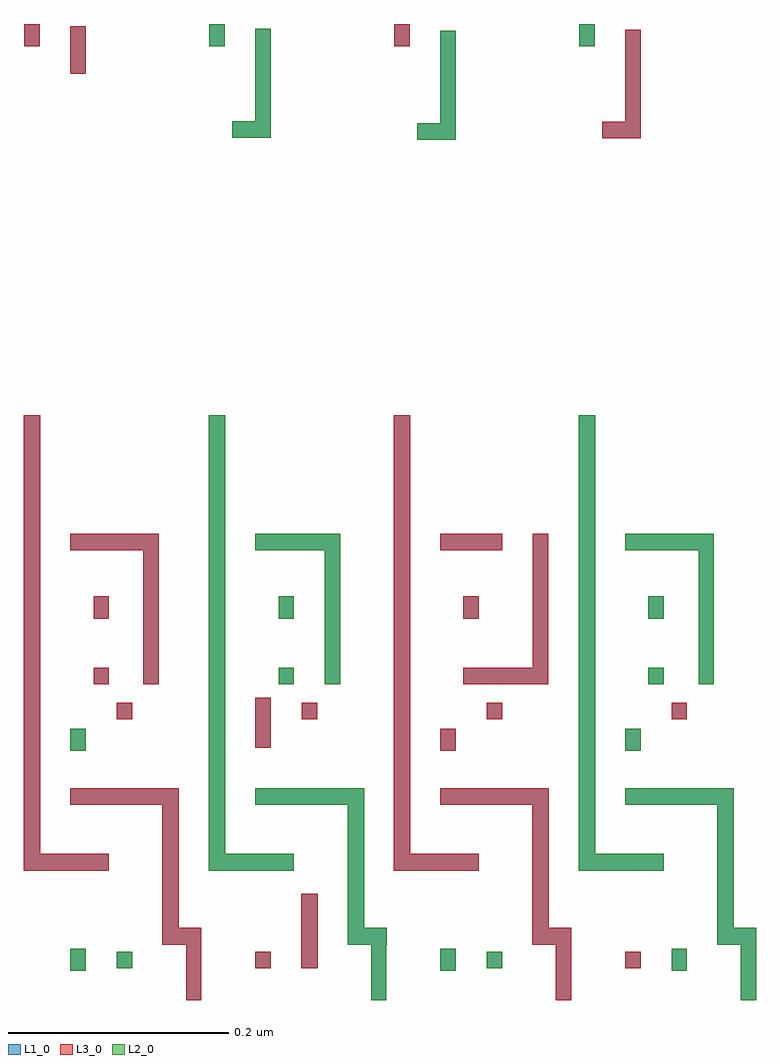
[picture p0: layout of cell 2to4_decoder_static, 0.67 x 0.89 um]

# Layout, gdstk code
import gdstk
lib = gdstk.Library(unit=1e-6, precision=5e-10)
def R(c, l, rs):  # rectangles x0, y0, x1, y1
    for r in rs: c.add(gdstk.rectangle(r[:2], r[2:], *l))
def A(c, l, x, y, w, h, nx, ny, dx, dy):  # array of equal rectangles
    R(c, l, [(x+i*dx, y+j*dy, x+i*dx+w, y+j*dy+h) for i in range(nx) for j in range(ny)])
def P(c, l, *ps):  # polygons
    for p in ps: c.add(gdstk.Polygon(p, *l))
L1_0 = (1, 0)
L2_0 = (2, 0)
L3_0 = (3, 0)

proto_hold_nand_1r = lib.new_cell('PROTO_HOLD_nand_1R')
R(proto_hold_nand_1r, L1_0, [(0.258,-0.1675,0.272,-0.1025), (0.153,-0.1385,0.167,-0.1235), (0.195,-0.1385,0.209,-0.1235)])

proto_hold_nor_1r = lib.new_cell('PROTO_HOLD_nor_1R')
R(proto_hold_nor_1r, L1_0, [(0.2055,-0.113,0.2195,-0.098), (0.2475,-0.087,0.2615,-0.072), (0.2265,-0.055,0.2405,-0.04)])
R(proto_hold_nor_1r, L3_0, [(0.2475,-0.087,0.2615,-0.072)])

inv = lib.new_cell('inv')
R(inv, L1_0, [(0.0695,0.039,0.0835,0.054), (0.0485,0.0985,0.1045,0.1135)])

c_2to4_decoder_static = lib.new_cell('2to4_decoder_static')
A(c_2to4_decoder_static, L1_0, 0.0695, 0.383, 0.014, 0.02, 4, 1, 0.168, 0)
A(c_2to4_decoder_static, L1_0, 0.0065, 0.903, 0.014, 0.02, 4, 1, 0.168, 0)
R(c_2to4_decoder_static, L1_0, [(0.0485,0.063,0.0625,0.083), (0.3845,0.063,0.3985,0.083), (0.5945,0.063,0.6085,0.083), (0.258,0.0655,0.273,0.133), (0.0485,0.263,0.0625,0.283), (0.3845,0.263,0.3985,0.283), (0.5525,0.263,0.5665,0.283), (0.2165,0.2685,0.2305,0.311), (0.091,0.293,0.104,0.3055), (0.4285,0.295,0.439,0.3015), (0.0485,0.878,0.0625,0.921)])
P(c_2to4_decoder_static, L1_0, [(0.651,0.229),(0.651,0.102),(0.6715,0.102),(0.6715,0.0865),(0.636,0.0865),(0.636,0.214),(0.6015,0.214),(0.6015,0.229)],
  [(0.633,0.46),(0.633,0.3235),(0.619,0.3235),(0.619,0.445),(0.5885,0.445),(0.5885,0.46)],
  [(0.5665,0.918),(0.5665,0.819),(0.5315,0.819),(0.5315,0.834),(0.5525,0.834),(0.5525,0.918)],
  [(0.525,0.5675),(0.525,0.1695),(0.5875,0.1695),(0.5875,0.154),(0.51,0.154),(0.51,0.5675)],
  [(0.483,0.229),(0.483,0.102),(0.5035,0.102),(0.5035,0.0865),(0.468,0.0865),(0.468,0.214),(0.4335,0.214),(0.4335,0.229)],
  [(0.4825,0.46),(0.4825,0.3235),(0.4055,0.3235),(0.4055,0.3385),(0.4685,0.3385),(0.4685,0.46)],
  [(0.3985,0.917),(0.3985,0.818),(0.3635,0.818),(0.3635,0.833),(0.3845,0.833),(0.3845,0.917)],
  [(0.357,0.5675),(0.357,0.1695),(0.4195,0.1695),(0.4195,0.154),(0.342,0.154),(0.342,0.5675)],
  [(0.3155,0.229),(0.3155,0.102),(0.336,0.102),(0.336,0.0865),(0.3005,0.0865),(0.3005,0.214),(0.266,0.214),(0.266,0.229)],
  [(0.2935,0.46),(0.2935,0.3235),(0.2795,0.3235),(0.2795,0.445),(0.249,0.445),(0.249,0.46)],
  [(0.2305,0.9185),(0.2305,0.8195),(0.1955,0.8195),(0.1955,0.8345),(0.2165,0.8345),(0.2165,0.9185)],
  [(0.189,0.5675),(0.189,0.1695),(0.2515,0.1695),(0.2515,0.154),(0.174,0.154),(0.174,0.5675)],
  [(0.147,0.229),(0.147,0.102),(0.1675,0.102),(0.1675,0.0865),(0.132,0.0865),(0.132,0.214),(0.0975,0.214),(0.0975,0.229)],
  [(0.1285,0.46),(0.1285,0.3235),(0.1145,0.3235),(0.1145,0.445),(0.084,0.445),(0.084,0.46)],
  [(0.021,0.5675),(0.021,0.1695),(0.0835,0.1695),(0.0835,0.154),(0.006,0.154),(0.006,0.5675)])
R(c_2to4_decoder_static, L2_0, [(0.0485,0.063,0.0625,0.083), (0.3845,0.063,0.3985,0.083), (0.5945,0.063,0.6085,0.083), (0.0905,0.0655,0.1045,0.0805), (0.4265,0.0655,0.4405,0.0805), (0.0485,0.263,0.0625,0.283), (0.5525,0.263,0.5665,0.283), (0.2375,0.3235,0.2515,0.3385), (0.5735,0.3235,0.5875,0.3385), (0.2375,0.383,0.2515,0.403), (0.5735,0.383,0.5875,0.403), (0.1745,0.903,0.1885,0.923), (0.5105,0.903,0.5245,0.923)])
P(c_2to4_decoder_static, L2_0, [(0.633,0.46),(0.633,0.3235),(0.619,0.3235),(0.619,0.445),(0.5525,0.445),(0.5525,0.46)],
  [(0.651,0.229),(0.651,0.102),(0.6715,0.102),(0.6715,0.0365),(0.6575,0.0365),(0.6575,0.0865),(0.636,0.0865),(0.636,0.214),(0.5525,0.214),(0.5525,0.229)],
  [(0.525,0.5675),(0.525,0.1695),(0.5875,0.1695),(0.5875,0.154),(0.51,0.154),(0.51,0.5675)],
  [(0.3985,0.917),(0.3985,0.818),(0.3635,0.818),(0.3635,0.833),(0.3845,0.833),(0.3845,0.917)],
  [(0.2935,0.46),(0.2935,0.3235),(0.2795,0.3235),(0.2795,0.445),(0.2165,0.445),(0.2165,0.46)],
  [(0.3155,0.229),(0.3155,0.102),(0.336,0.102),(0.336,0.0865),(0.3355,0.0865),(0.3355,0.0365),(0.3215,0.0365),(0.3215,0.0865),(0.3005,0.0865),(0.3005,0.214),(0.2165,0.214),(0.2165,0.229)],
  [(0.2305,0.9185),(0.2305,0.8195),(0.1955,0.8195),(0.1955,0.8345),(0.2165,0.8345),(0.2165,0.9185)],
  [(0.189,0.5675),(0.189,0.1695),(0.2515,0.1695),(0.2515,0.154),(0.174,0.154),(0.174,0.5675)])
R(c_2to4_decoder_static, L3_0, [(0.2165,0.0655,0.2305,0.0805), (0.258,0.0655,0.273,0.133), (0.5525,0.0655,0.5665,0.0805), (0.3845,0.263,0.3985,0.283), (0.2165,0.2655,0.2305,0.311), (0.0695,0.3235,0.0835,0.3385), (0.0695,0.383,0.0835,0.403), (0.4055,0.383,0.4195,0.403), (0.3845,0.445,0.4405,0.46), (0.0485,0.878,0.0625,0.921), (0.0065,0.903,0.0205,0.923), (0.3425,0.903,0.3565,0.923)])
P(c_2to4_decoder_static, L3_0, [(0.5665,0.918),(0.5665,0.819),(0.5315,0.819),(0.5315,0.834),(0.5525,0.834),(0.5525,0.918)],
  [(0.4825,0.46),(0.4825,0.3235),(0.4055,0.3235),(0.4055,0.3385),(0.4685,0.3385),(0.4685,0.46)],
  [(0.483,0.229),(0.483,0.102),(0.5035,0.102),(0.5035,0.0365),(0.4895,0.0365),(0.4895,0.0865),(0.468,0.0865),(0.468,0.214),(0.3845,0.214),(0.3845,0.229)],
  [(0.357,0.5675),(0.357,0.1695),(0.4195,0.1695),(0.4195,0.154),(0.342,0.154),(0.342,0.5675)],
  [(0.1285,0.46),(0.1285,0.3235),(0.1145,0.3235),(0.1145,0.445),(0.0485,0.445),(0.0485,0.46)],
  [(0.147,0.229),(0.147,0.102),(0.1675,0.102),(0.1675,0.0365),(0.1535,0.0365),(0.1535,0.0865),(0.132,0.0865),(0.132,0.214),(0.0485,0.214),(0.0485,0.229)],
  [(0.021,0.5675),(0.021,0.1695),(0.0835,0.1695),(0.0835,0.154),(0.006,0.154),(0.006,0.5675)])
c_2to4_decoder_static.add(gdstk.Reference(proto_hold_nand_1r, (-0.1045,0.204)))
c_2to4_decoder_static.add(gdstk.Reference(proto_hold_nand_1r, (0.0635,0.204)))
c_2to4_decoder_static.add(gdstk.Reference(proto_hold_nand_1r, (0.2315,0.204)))
c_2to4_decoder_static.add(gdstk.Reference(proto_hold_nand_1r, (0.3995,0.204)))
c_2to4_decoder_static.add(gdstk.Reference(proto_hold_nor_1r, (0.347,0.3785)))
c_2to4_decoder_static.add(gdstk.Reference(proto_hold_nor_1r, (0.179,0.3785)))
c_2to4_decoder_static.add(gdstk.Reference(proto_hold_nor_1r, (0.011,0.3785)))
c_2to4_decoder_static.add(gdstk.Reference(proto_hold_nor_1r, (-0.157,0.3785)))
c_2to4_decoder_static.add(gdstk.Reference(inv, (0.336,0.3465)))
c_2to4_decoder_static.add(gdstk.Reference(inv, (0.504,0.3465)))
c_2to4_decoder_static.add(gdstk.Reference(inv, (0.168,0.3465)))
c_2to4_decoder_static.add(gdstk.Reference(inv, (0,0.3465)))
c_2to4_decoder_static.add(gdstk.Reference(inv, (0.504,0.1155)))
c_2to4_decoder_static.add(gdstk.Reference(inv, (0.336,0.1155)))
c_2to4_decoder_static.add(gdstk.Reference(inv, (0.168,0.1155)))
c_2to4_decoder_static.add(gdstk.Reference(inv, (0,0.1155)))

lib.write_gds('2to4_decoder_static.gds')
